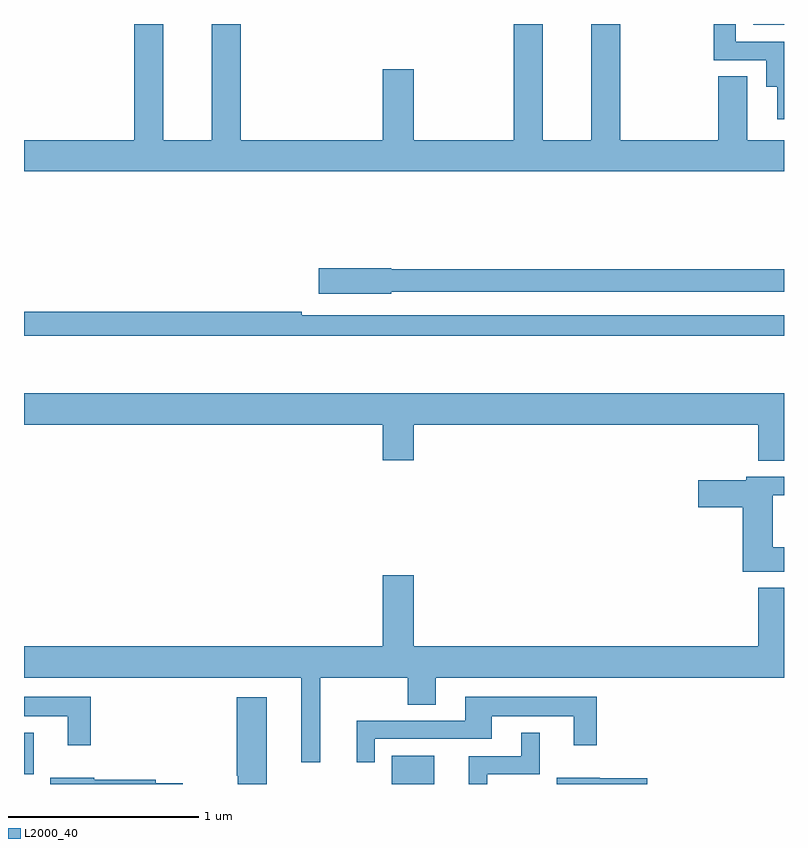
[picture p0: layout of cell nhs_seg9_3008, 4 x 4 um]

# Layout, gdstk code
import gdstk
lib = gdstk.Library(unit=1e-6, precision=1e-09)
def R(c, l, rs):  # rectangles x0, y0, x1, y1
    for r in rs: c.add(gdstk.rectangle(r[:2], r[2:], *l))
def P(c, l, *ps):  # polygons
    for p in ps: c.add(gdstk.Polygon(p, *l))
L2000_40 = (2000, 40)

nhs_seg9_3008 = lib.new_cell('nhs_seg9_3008')
R(nhs_seg9_3008, L2000_40, [(284.936,1222.5,285.16,1222.648), (283,1222.551,283.051,1222.771), (286.839,1226.496,287,1226.5)])
P(nhs_seg9_3008, L2000_40, [(287,1226.406),(286.746,1226.406),(286.746,1226.5),(286.63,1226.5),(286.63,1226.31),(286.907,1226.31),(286.907,1226.171),(286.964,1226.171),(286.964,1226),(287,1226)],
  [(287,1225.888),(286.807,1225.888),(286.807,1226.225),(286.655,1226.225),(286.655,1225.888),(286.139,1225.888),(286.139,1226.5),(285.986,1226.5),(285.986,1225.888),(285.73,1225.888),(285.73,1226.5),(285.578,1226.5),(285.578,1225.888),(285.052,1225.888),(285.052,1226.263),(284.888,1226.263),(284.888,1225.888),(284.141,1225.888),(284.141,1226.5),(283.988,1226.5),(283.988,1225.888),(283.732,1225.888),(283.732,1226.5),(283.58,1226.5),(283.58,1225.888),(283,1225.888),(283,1225.724),(287,1225.724)],
  [(284.934,1225.092),(287,1225.092),(287,1225.208),(284.934,1225.208),(284.934,1225.214),(284.55,1225.214),(284.55,1225.079),(284.934,1225.079)],
  [(287,1224.966),(284.462,1224.966),(284.462,1224.986),(283,1224.986),(283,1224.858),(287,1224.858)],
  [(287,1224.556),(283,1224.556),(283,1224.392),(284.888,1224.392),(284.888,1224.204),(285.052,1224.204),(285.052,1224.392),(286.865,1224.392),(286.865,1224.202),(287,1224.202)],
  [(287,1223.746),(286.942,1223.746),(286.942,1224.021),(287,1224.021),(287,1224.117),(286.8,1224.117),(286.8,1224.099),(286.548,1224.099),(286.548,1223.957),(286.784,1223.957),(286.784,1223.618),(287,1223.618)],
  [(284.558,1223.06),(285.019,1223.06),(285.019,1222.918),(285.166,1222.918),(285.166,1223.06),(287,1223.06),(287,1223.533),(286.865,1223.533),(286.865,1223.224),(285.052,1223.224),(285.052,1223.599),(284.888,1223.599),(284.888,1223.224),(283,1223.224),(283,1223.06),(284.459,1223.06),(284.459,1222.614),(284.558,1222.614)],
  [(284.847,1222.737),(285.463,1222.737),(285.463,1222.856),(285.893,1222.856),(285.893,1222.704),(286.015,1222.704),(286.015,1222.96),(285.323,1222.96),(285.323,1222.833),(284.75,1222.833),(284.75,1222.614),(284.847,1222.614)],
  [(283.351,1222.96),(283,1222.96),(283,1222.856),(283.229,1222.856),(283.229,1222.704),(283.351,1222.704)],
  [(284.278,1222.957),(284.12,1222.957),(284.12,1222.544),(284.125,1222.544),(284.125,1222.5),(284.278,1222.5)],
  [(285.438,1222.551),(285.715,1222.551),(285.715,1222.771),(285.617,1222.771),(285.617,1222.647),(285.341,1222.647),(285.341,1222.5),(285.438,1222.5)],
  [(283.836,1222.503),(283.694,1222.503),(283.694,1222.523),(283.369,1222.523),(283.369,1222.534),(283.139,1222.534),(283.139,1222.5),(283.836,1222.5)],
  [(286.279,1222.529),(286.029,1222.529),(286.029,1222.534),(285.803,1222.534),(285.803,1222.5),(286.279,1222.5)])

lib.write_gds('nhs_seg9_3008.gds')
